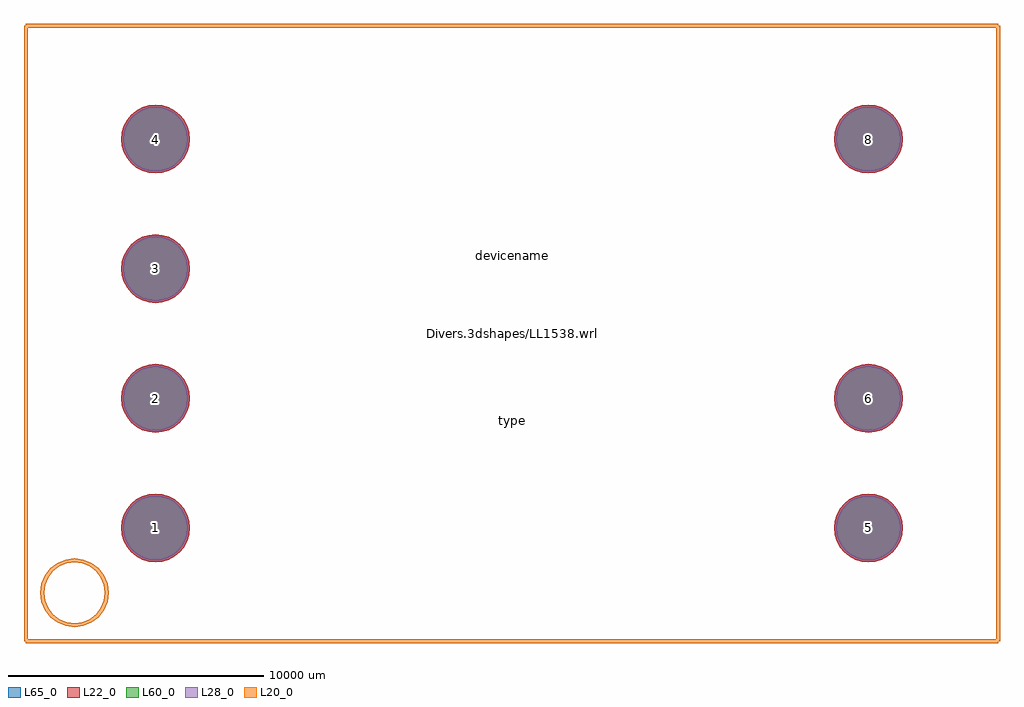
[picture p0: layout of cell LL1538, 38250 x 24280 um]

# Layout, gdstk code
import gdstk
lib = gdstk.Library(unit=1e-6, precision=1e-09)
def P(c, l, *ps):  # polygons
    for p in ps: c.add(gdstk.Polygon(p, *l))
L20_0 = (20, 0)
L22_0 = (22, 0)
L28_0 = (28, 0)
L60_0 = (60, 0)
L65_0 = (65, 0)

ll1538 = lib.new_cell('LL1538')
P(ll1538, L22_0, [(15315,7620),(15289.156,7882.396),(15212.618,8134.709),(15088.327,8367.242),(14921.059,8571.059),(14717.242,8738.327),(14484.709,8862.618),(14232.396,8939.156),(13970,8965),(13707.604,8939.156),(13455.291,8862.618),(13222.758,8738.327),(13018.941,8571.059),(12851.673,8367.242),(12727.382,8134.709),(12650.844,7882.396),(12625,7620),(12650.844,7357.604),(12727.382,7105.291),(12851.673,6872.758),(13018.941,6668.941),(13222.758,6501.673),(13455.291,6377.382),(13707.604,6300.844),(13970,6275),(14232.396,6300.844),(14484.709,6377.382),(14717.242,6501.673),(14921.059,6668.941),(15088.327,6872.758),(15212.618,7105.291),(15289.156,7357.604)],
  [(15315,-2540),(15289.156,-2277.604),(15212.618,-2025.291),(15088.327,-1792.758),(14921.059,-1588.941),(14717.242,-1421.673),(14484.709,-1297.382),(14232.396,-1220.844),(13970,-1195),(13707.604,-1220.844),(13455.291,-1297.382),(13222.758,-1421.673),(13018.941,-1588.941),(12851.673,-1792.758),(12727.382,-2025.291),(12650.844,-2277.604),(12625,-2540),(12650.844,-2802.396),(12727.382,-3054.709),(12851.673,-3287.242),(13018.941,-3491.059),(13222.758,-3658.327),(13455.291,-3782.618),(13707.604,-3859.156),(13970,-3885),(14232.396,-3859.156),(14484.709,-3782.618),(14717.242,-3658.327),(14921.059,-3491.059),(15088.327,-3287.242),(15212.618,-3054.709),(15289.156,-2802.396)],
  [(15315,-7620),(15289.156,-7357.604),(15212.618,-7105.291),(15088.327,-6872.758),(14921.059,-6668.941),(14717.242,-6501.673),(14484.709,-6377.382),(14232.396,-6300.844),(13970,-6275),(13707.604,-6300.844),(13455.291,-6377.382),(13222.758,-6501.673),(13018.941,-6668.941),(12851.673,-6872.758),(12727.382,-7105.291),(12650.844,-7357.604),(12625,-7620),(12650.844,-7882.396),(12727.382,-8134.709),(12851.673,-8367.242),(13018.941,-8571.059),(13222.758,-8738.327),(13455.291,-8862.618),(13707.604,-8939.156),(13970,-8965),(14232.396,-8939.156),(14484.709,-8862.618),(14717.242,-8738.327),(14921.059,-8571.059),(15088.327,-8367.242),(15212.618,-8134.709),(15289.156,-7882.396)],
  [(-12625,7620),(-12650.844,7882.396),(-12727.382,8134.709),(-12851.673,8367.242),(-13018.941,8571.059),(-13222.758,8738.327),(-13455.291,8862.618),(-13707.604,8939.156),(-13970,8965),(-14232.396,8939.156),(-14484.709,8862.618),(-14717.242,8738.327),(-14921.059,8571.059),(-15088.327,8367.242),(-15212.618,8134.709),(-15289.156,7882.396),(-15315,7620),(-15289.156,7357.604),(-15212.618,7105.291),(-15088.327,6872.758),(-14921.059,6668.941),(-14717.242,6501.673),(-14484.709,6377.382),(-14232.396,6300.844),(-13970,6275),(-13707.604,6300.844),(-13455.291,6377.382),(-13222.758,6501.673),(-13018.941,6668.941),(-12851.673,6872.758),(-12727.382,7105.291),(-12650.844,7357.604)],
  [(-12625,2540),(-12650.844,2802.396),(-12727.382,3054.709),(-12851.673,3287.242),(-13018.941,3491.059),(-13222.758,3658.327),(-13455.291,3782.618),(-13707.604,3859.156),(-13970,3885),(-14232.396,3859.156),(-14484.709,3782.618),(-14717.242,3658.327),(-14921.059,3491.059),(-15088.327,3287.242),(-15212.618,3054.709),(-15289.156,2802.396),(-15315,2540),(-15289.156,2277.604),(-15212.618,2025.291),(-15088.327,1792.758),(-14921.059,1588.941),(-14717.242,1421.673),(-14484.709,1297.382),(-14232.396,1220.844),(-13970,1195),(-13707.604,1220.844),(-13455.291,1297.382),(-13222.758,1421.673),(-13018.941,1588.941),(-12851.673,1792.758),(-12727.382,2025.291),(-12650.844,2277.604)],
  [(-12625,-2540),(-12650.844,-2277.604),(-12727.382,-2025.291),(-12851.673,-1792.758),(-13018.941,-1588.941),(-13222.758,-1421.673),(-13455.291,-1297.382),(-13707.604,-1220.844),(-13970,-1195),(-14232.396,-1220.844),(-14484.709,-1297.382),(-14717.242,-1421.673),(-14921.059,-1588.941),(-15088.327,-1792.758),(-15212.618,-2025.291),(-15289.156,-2277.604),(-15315,-2540),(-15289.156,-2802.396),(-15212.618,-3054.709),(-15088.327,-3287.242),(-14921.059,-3491.059),(-14717.242,-3658.327),(-14484.709,-3782.618),(-14232.396,-3859.156),(-13970,-3885),(-13707.604,-3859.156),(-13455.291,-3782.618),(-13222.758,-3658.327),(-13018.941,-3491.059),(-12851.673,-3287.242),(-12727.382,-3054.709),(-12650.844,-2802.396)],
  [(-12625,-7620),(-12650.844,-7357.604),(-12727.382,-7105.291),(-12851.673,-6872.758),(-13018.941,-6668.941),(-13222.758,-6501.673),(-13455.291,-6377.382),(-13707.604,-6300.844),(-13970,-6275),(-14232.396,-6300.844),(-14484.709,-6377.382),(-14717.242,-6501.673),(-14921.059,-6668.941),(-15088.327,-6872.758),(-15212.618,-7105.291),(-15289.156,-7357.604),(-15315,-7620),(-15289.156,-7882.396),(-15212.618,-8134.709),(-15088.327,-8367.242),(-14921.059,-8571.059),(-14717.242,-8738.327),(-14484.709,-8862.618),(-14232.396,-8939.156),(-13970,-8965),(-13707.604,-8939.156),(-13455.291,-8862.618),(-13222.758,-8738.327),(-13018.941,-8571.059),(-12851.673,-8367.242),(-12727.382,-8134.709),(-12650.844,-7882.396)])
P(ll1538, L28_0, [(15240,7620),(15215.597,7867.765),(15143.327,8106.008),(15025.966,8325.574),(14868.026,8518.026),(14675.574,8675.966),(14456.008,8793.327),(14217.765,8865.597),(13970,8890),(13722.235,8865.597),(13483.992,8793.327),(13264.426,8675.966),(13071.974,8518.026),(12914.034,8325.574),(12796.673,8106.008),(12724.403,7867.765),(12700,7620),(12724.403,7372.235),(12796.673,7133.992),(12914.034,6914.426),(13071.974,6721.974),(13264.426,6564.034),(13483.992,6446.673),(13722.235,6374.403),(13970,6350),(14217.765,6374.403),(14456.008,6446.673),(14675.574,6564.034),(14868.026,6721.974),(15025.966,6914.426),(15143.327,7133.992),(15215.597,7372.235)],
  [(15240,-2540),(15215.597,-2292.235),(15143.327,-2053.992),(15025.966,-1834.426),(14868.026,-1641.974),(14675.574,-1484.034),(14456.008,-1366.673),(14217.765,-1294.403),(13970,-1270),(13722.235,-1294.403),(13483.992,-1366.673),(13264.426,-1484.034),(13071.974,-1641.974),(12914.034,-1834.426),(12796.673,-2053.992),(12724.403,-2292.235),(12700,-2540),(12724.403,-2787.765),(12796.673,-3026.008),(12914.034,-3245.574),(13071.974,-3438.026),(13264.426,-3595.966),(13483.992,-3713.327),(13722.235,-3785.597),(13970,-3810),(14217.765,-3785.597),(14456.008,-3713.327),(14675.574,-3595.966),(14868.026,-3438.026),(15025.966,-3245.574),(15143.327,-3026.008),(15215.597,-2787.765)],
  [(15240,-7620),(15215.597,-7372.235),(15143.327,-7133.992),(15025.966,-6914.426),(14868.026,-6721.974),(14675.574,-6564.034),(14456.008,-6446.673),(14217.765,-6374.403),(13970,-6350),(13722.235,-6374.403),(13483.992,-6446.673),(13264.426,-6564.034),(13071.974,-6721.974),(12914.034,-6914.426),(12796.673,-7133.992),(12724.403,-7372.235),(12700,-7620),(12724.403,-7867.765),(12796.673,-8106.008),(12914.034,-8325.574),(13071.974,-8518.026),(13264.426,-8675.966),(13483.992,-8793.327),(13722.235,-8865.597),(13970,-8890),(14217.765,-8865.597),(14456.008,-8793.327),(14675.574,-8675.966),(14868.026,-8518.026),(15025.966,-8325.574),(15143.327,-8106.008),(15215.597,-7867.765)],
  [(-12700,7620),(-12724.403,7867.765),(-12796.673,8106.008),(-12914.034,8325.574),(-13071.974,8518.026),(-13264.426,8675.966),(-13483.992,8793.327),(-13722.235,8865.597),(-13970,8890),(-14217.765,8865.597),(-14456.008,8793.327),(-14675.574,8675.966),(-14868.026,8518.026),(-15025.966,8325.574),(-15143.327,8106.008),(-15215.597,7867.765),(-15240,7620),(-15215.597,7372.235),(-15143.327,7133.992),(-15025.966,6914.426),(-14868.026,6721.974),(-14675.574,6564.034),(-14456.008,6446.673),(-14217.765,6374.403),(-13970,6350),(-13722.235,6374.403),(-13483.992,6446.673),(-13264.426,6564.034),(-13071.974,6721.974),(-12914.034,6914.426),(-12796.673,7133.992),(-12724.403,7372.235)],
  [(-12700,2540),(-12724.403,2787.765),(-12796.673,3026.008),(-12914.034,3245.574),(-13071.974,3438.026),(-13264.426,3595.966),(-13483.992,3713.327),(-13722.235,3785.597),(-13970,3810),(-14217.765,3785.597),(-14456.008,3713.327),(-14675.574,3595.966),(-14868.026,3438.026),(-15025.966,3245.574),(-15143.327,3026.008),(-15215.597,2787.765),(-15240,2540),(-15215.597,2292.235),(-15143.327,2053.992),(-15025.966,1834.426),(-14868.026,1641.974),(-14675.574,1484.034),(-14456.008,1366.673),(-14217.765,1294.403),(-13970,1270),(-13722.235,1294.403),(-13483.992,1366.673),(-13264.426,1484.034),(-13071.974,1641.974),(-12914.034,1834.426),(-12796.673,2053.992),(-12724.403,2292.235)],
  [(-12700,-2540),(-12724.403,-2292.235),(-12796.673,-2053.992),(-12914.034,-1834.426),(-13071.974,-1641.974),(-13264.426,-1484.034),(-13483.992,-1366.673),(-13722.235,-1294.403),(-13970,-1270),(-14217.765,-1294.403),(-14456.008,-1366.673),(-14675.574,-1484.034),(-14868.026,-1641.974),(-15025.966,-1834.426),(-15143.327,-2053.992),(-15215.597,-2292.235),(-15240,-2540),(-15215.597,-2787.765),(-15143.327,-3026.008),(-15025.966,-3245.574),(-14868.026,-3438.026),(-14675.574,-3595.966),(-14456.008,-3713.327),(-14217.765,-3785.597),(-13970,-3810),(-13722.235,-3785.597),(-13483.992,-3713.327),(-13264.426,-3595.966),(-13071.974,-3438.026),(-12914.034,-3245.574),(-12796.673,-3026.008),(-12724.403,-2787.765)],
  [(-12700,-7620),(-12724.403,-7372.235),(-12796.673,-7133.992),(-12914.034,-6914.426),(-13071.974,-6721.974),(-13264.426,-6564.034),(-13483.992,-6446.673),(-13722.235,-6374.403),(-13970,-6350),(-14217.765,-6374.403),(-14456.008,-6446.673),(-14675.574,-6564.034),(-14868.026,-6721.974),(-15025.966,-6914.426),(-15143.327,-7133.992),(-15215.597,-7372.235),(-15240,-7620),(-15215.597,-7867.765),(-15143.327,-8106.008),(-15025.966,-8325.574),(-14868.026,-8518.026),(-14675.574,-8675.966),(-14456.008,-8793.327),(-14217.765,-8865.597),(-13970,-8890),(-13722.235,-8865.597),(-13483.992,-8793.327),(-13264.426,-8675.966),(-13071.974,-8518.026),(-12914.034,-8325.574),(-12796.673,-8106.008),(-12724.403,-7867.765)])
P(ll1538, L60_0, [(15240,7620),(15215.597,7867.765),(15143.327,8106.008),(15025.966,8325.574),(14868.026,8518.026),(14675.574,8675.966),(14456.008,8793.327),(14217.765,8865.597),(13970,8890),(13722.235,8865.597),(13483.992,8793.327),(13264.426,8675.966),(13071.974,8518.026),(12914.034,8325.574),(12796.673,8106.008),(12724.403,7867.765),(12700,7620),(12724.403,7372.235),(12796.673,7133.992),(12914.034,6914.426),(13071.974,6721.974),(13264.426,6564.034),(13483.992,6446.673),(13722.235,6374.403),(13970,6350),(14217.765,6374.403),(14456.008,6446.673),(14675.574,6564.034),(14868.026,6721.974),(15025.966,6914.426),(15143.327,7133.992),(15215.597,7372.235)],
  [(15240,-2540),(15215.597,-2292.235),(15143.327,-2053.992),(15025.966,-1834.426),(14868.026,-1641.974),(14675.574,-1484.034),(14456.008,-1366.673),(14217.765,-1294.403),(13970,-1270),(13722.235,-1294.403),(13483.992,-1366.673),(13264.426,-1484.034),(13071.974,-1641.974),(12914.034,-1834.426),(12796.673,-2053.992),(12724.403,-2292.235),(12700,-2540),(12724.403,-2787.765),(12796.673,-3026.008),(12914.034,-3245.574),(13071.974,-3438.026),(13264.426,-3595.966),(13483.992,-3713.327),(13722.235,-3785.597),(13970,-3810),(14217.765,-3785.597),(14456.008,-3713.327),(14675.574,-3595.966),(14868.026,-3438.026),(15025.966,-3245.574),(15143.327,-3026.008),(15215.597,-2787.765)],
  [(15240,-7620),(15215.597,-7372.235),(15143.327,-7133.992),(15025.966,-6914.426),(14868.026,-6721.974),(14675.574,-6564.034),(14456.008,-6446.673),(14217.765,-6374.403),(13970,-6350),(13722.235,-6374.403),(13483.992,-6446.673),(13264.426,-6564.034),(13071.974,-6721.974),(12914.034,-6914.426),(12796.673,-7133.992),(12724.403,-7372.235),(12700,-7620),(12724.403,-7867.765),(12796.673,-8106.008),(12914.034,-8325.574),(13071.974,-8518.026),(13264.426,-8675.966),(13483.992,-8793.327),(13722.235,-8865.597),(13970,-8890),(14217.765,-8865.597),(14456.008,-8793.327),(14675.574,-8675.966),(14868.026,-8518.026),(15025.966,-8325.574),(15143.327,-8106.008),(15215.597,-7867.765)],
  [(-12700,7620),(-12724.403,7867.765),(-12796.673,8106.008),(-12914.034,8325.574),(-13071.974,8518.026),(-13264.426,8675.966),(-13483.992,8793.327),(-13722.235,8865.597),(-13970,8890),(-14217.765,8865.597),(-14456.008,8793.327),(-14675.574,8675.966),(-14868.026,8518.026),(-15025.966,8325.574),(-15143.327,8106.008),(-15215.597,7867.765),(-15240,7620),(-15215.597,7372.235),(-15143.327,7133.992),(-15025.966,6914.426),(-14868.026,6721.974),(-14675.574,6564.034),(-14456.008,6446.673),(-14217.765,6374.403),(-13970,6350),(-13722.235,6374.403),(-13483.992,6446.673),(-13264.426,6564.034),(-13071.974,6721.974),(-12914.034,6914.426),(-12796.673,7133.992),(-12724.403,7372.235)],
  [(-12700,2540),(-12724.403,2787.765),(-12796.673,3026.008),(-12914.034,3245.574),(-13071.974,3438.026),(-13264.426,3595.966),(-13483.992,3713.327),(-13722.235,3785.597),(-13970,3810),(-14217.765,3785.597),(-14456.008,3713.327),(-14675.574,3595.966),(-14868.026,3438.026),(-15025.966,3245.574),(-15143.327,3026.008),(-15215.597,2787.765),(-15240,2540),(-15215.597,2292.235),(-15143.327,2053.992),(-15025.966,1834.426),(-14868.026,1641.974),(-14675.574,1484.034),(-14456.008,1366.673),(-14217.765,1294.403),(-13970,1270),(-13722.235,1294.403),(-13483.992,1366.673),(-13264.426,1484.034),(-13071.974,1641.974),(-12914.034,1834.426),(-12796.673,2053.992),(-12724.403,2292.235)],
  [(-12700,-2540),(-12724.403,-2292.235),(-12796.673,-2053.992),(-12914.034,-1834.426),(-13071.974,-1641.974),(-13264.426,-1484.034),(-13483.992,-1366.673),(-13722.235,-1294.403),(-13970,-1270),(-14217.765,-1294.403),(-14456.008,-1366.673),(-14675.574,-1484.034),(-14868.026,-1641.974),(-15025.966,-1834.426),(-15143.327,-2053.992),(-15215.597,-2292.235),(-15240,-2540),(-15215.597,-2787.765),(-15143.327,-3026.008),(-15025.966,-3245.574),(-14868.026,-3438.026),(-14675.574,-3595.966),(-14456.008,-3713.327),(-14217.765,-3785.597),(-13970,-3810),(-13722.235,-3785.597),(-13483.992,-3713.327),(-13264.426,-3595.966),(-13071.974,-3438.026),(-12914.034,-3245.574),(-12796.673,-3026.008),(-12724.403,-2787.765)],
  [(-12700,-7620),(-12724.403,-7372.235),(-12796.673,-7133.992),(-12914.034,-6914.426),(-13071.974,-6721.974),(-13264.426,-6564.034),(-13483.992,-6446.673),(-13722.235,-6374.403),(-13970,-6350),(-14217.765,-6374.403),(-14456.008,-6446.673),(-14675.574,-6564.034),(-14868.026,-6721.974),(-15025.966,-6914.426),(-15143.327,-7133.992),(-15215.597,-7372.235),(-15240,-7620),(-15215.597,-7867.765),(-15143.327,-8106.008),(-15025.966,-8325.574),(-14868.026,-8518.026),(-14675.574,-8675.966),(-14456.008,-8793.327),(-14217.765,-8865.597),(-13970,-8890),(-13722.235,-8865.597),(-13483.992,-8793.327),(-13264.426,-8675.966),(-13071.974,-8518.026),(-12914.034,-8325.574),(-12796.673,-8106.008),(-12724.403,-7867.765)])
P(ll1538, L65_0, [(15315,7620),(15289.156,7882.396),(15212.618,8134.709),(15088.327,8367.242),(14921.059,8571.059),(14717.242,8738.327),(14484.709,8862.618),(14232.396,8939.156),(13970,8965),(13707.604,8939.156),(13455.291,8862.618),(13222.758,8738.327),(13018.941,8571.059),(12851.673,8367.242),(12727.382,8134.709),(12650.844,7882.396),(12625,7620),(12650.844,7357.604),(12727.382,7105.291),(12851.673,6872.758),(13018.941,6668.941),(13222.758,6501.673),(13455.291,6377.382),(13707.604,6300.844),(13970,6275),(14232.396,6300.844),(14484.709,6377.382),(14717.242,6501.673),(14921.059,6668.941),(15088.327,6872.758),(15212.618,7105.291),(15289.156,7357.604)],
  [(15315,-2540),(15289.156,-2277.604),(15212.618,-2025.291),(15088.327,-1792.758),(14921.059,-1588.941),(14717.242,-1421.673),(14484.709,-1297.382),(14232.396,-1220.844),(13970,-1195),(13707.604,-1220.844),(13455.291,-1297.382),(13222.758,-1421.673),(13018.941,-1588.941),(12851.673,-1792.758),(12727.382,-2025.291),(12650.844,-2277.604),(12625,-2540),(12650.844,-2802.396),(12727.382,-3054.709),(12851.673,-3287.242),(13018.941,-3491.059),(13222.758,-3658.327),(13455.291,-3782.618),(13707.604,-3859.156),(13970,-3885),(14232.396,-3859.156),(14484.709,-3782.618),(14717.242,-3658.327),(14921.059,-3491.059),(15088.327,-3287.242),(15212.618,-3054.709),(15289.156,-2802.396)],
  [(15315,-7620),(15289.156,-7357.604),(15212.618,-7105.291),(15088.327,-6872.758),(14921.059,-6668.941),(14717.242,-6501.673),(14484.709,-6377.382),(14232.396,-6300.844),(13970,-6275),(13707.604,-6300.844),(13455.291,-6377.382),(13222.758,-6501.673),(13018.941,-6668.941),(12851.673,-6872.758),(12727.382,-7105.291),(12650.844,-7357.604),(12625,-7620),(12650.844,-7882.396),(12727.382,-8134.709),(12851.673,-8367.242),(13018.941,-8571.059),(13222.758,-8738.327),(13455.291,-8862.618),(13707.604,-8939.156),(13970,-8965),(14232.396,-8939.156),(14484.709,-8862.618),(14717.242,-8738.327),(14921.059,-8571.059),(15088.327,-8367.242),(15212.618,-8134.709),(15289.156,-7882.396)],
  [(-12625,7620),(-12650.844,7882.396),(-12727.382,8134.709),(-12851.673,8367.242),(-13018.941,8571.059),(-13222.758,8738.327),(-13455.291,8862.618),(-13707.604,8939.156),(-13970,8965),(-14232.396,8939.156),(-14484.709,8862.618),(-14717.242,8738.327),(-14921.059,8571.059),(-15088.327,8367.242),(-15212.618,8134.709),(-15289.156,7882.396),(-15315,7620),(-15289.156,7357.604),(-15212.618,7105.291),(-15088.327,6872.758),(-14921.059,6668.941),(-14717.242,6501.673),(-14484.709,6377.382),(-14232.396,6300.844),(-13970,6275),(-13707.604,6300.844),(-13455.291,6377.382),(-13222.758,6501.673),(-13018.941,6668.941),(-12851.673,6872.758),(-12727.382,7105.291),(-12650.844,7357.604)],
  [(-12625,2540),(-12650.844,2802.396),(-12727.382,3054.709),(-12851.673,3287.242),(-13018.941,3491.059),(-13222.758,3658.327),(-13455.291,3782.618),(-13707.604,3859.156),(-13970,3885),(-14232.396,3859.156),(-14484.709,3782.618),(-14717.242,3658.327),(-14921.059,3491.059),(-15088.327,3287.242),(-15212.618,3054.709),(-15289.156,2802.396),(-15315,2540),(-15289.156,2277.604),(-15212.618,2025.291),(-15088.327,1792.758),(-14921.059,1588.941),(-14717.242,1421.673),(-14484.709,1297.382),(-14232.396,1220.844),(-13970,1195),(-13707.604,1220.844),(-13455.291,1297.382),(-13222.758,1421.673),(-13018.941,1588.941),(-12851.673,1792.758),(-12727.382,2025.291),(-12650.844,2277.604)],
  [(-12625,-2540),(-12650.844,-2277.604),(-12727.382,-2025.291),(-12851.673,-1792.758),(-13018.941,-1588.941),(-13222.758,-1421.673),(-13455.291,-1297.382),(-13707.604,-1220.844),(-13970,-1195),(-14232.396,-1220.844),(-14484.709,-1297.382),(-14717.242,-1421.673),(-14921.059,-1588.941),(-15088.327,-1792.758),(-15212.618,-2025.291),(-15289.156,-2277.604),(-15315,-2540),(-15289.156,-2802.396),(-15212.618,-3054.709),(-15088.327,-3287.242),(-14921.059,-3491.059),(-14717.242,-3658.327),(-14484.709,-3782.618),(-14232.396,-3859.156),(-13970,-3885),(-13707.604,-3859.156),(-13455.291,-3782.618),(-13222.758,-3658.327),(-13018.941,-3491.059),(-12851.673,-3287.242),(-12727.382,-3054.709),(-12650.844,-2802.396)],
  [(-12625,-7620),(-12650.844,-7357.604),(-12727.382,-7105.291),(-12851.673,-6872.758),(-13018.941,-6668.941),(-13222.758,-6501.673),(-13455.291,-6377.382),(-13707.604,-6300.844),(-13970,-6275),(-14232.396,-6300.844),(-14484.709,-6377.382),(-14717.242,-6501.673),(-14921.059,-6668.941),(-15088.327,-6872.758),(-15212.618,-7105.291),(-15289.156,-7357.604),(-15315,-7620),(-15289.156,-7882.396),(-15212.618,-8134.709),(-15088.327,-8367.242),(-14921.059,-8571.059),(-14717.242,-8738.327),(-14484.709,-8862.618),(-14232.396,-8939.156),(-13970,-8965),(-13707.604,-8939.156),(-13455.291,-8862.618),(-13222.758,-8738.327),(-13018.941,-8571.059),(-12851.673,-8367.242),(-12727.382,-8134.709),(-12650.844,-7882.396)])
ll1538.add(gdstk.FlexPath([(-19050,-12065),(-19050,12065)], 149.998, ends="flush", simple_path=True, layer=20, datatype=0))  # L20_0
ll1538.add(gdstk.FlexPath([(19050,-12065),(-19050,-12065)], 149.998, ends="flush", simple_path=True, layer=20, datatype=0))  # L20_0
ll1538.add(gdstk.FlexPath([(19050,12065),(19050,-12065)], 149.998, ends="flush", simple_path=True, layer=20, datatype=0))  # L20_0
ll1538.add(gdstk.FlexPath([(-19050,12065),(19050,12065)], 149.998, ends="flush", simple_path=True, layer=20, datatype=0))  # L20_0
ll1538.add(gdstk.FlexPath([(-17145,-8890),(-17473.7,-8933.274),(-17780,-9060.148),(-18043.026,-9261.974),(-18244.852,-9525),(-18371.726,-9831.3),(-18415,-10160),(-18371.726,-10488.7),(-18244.852,-10795),(-18043.026,-11058.026),(-17780,-11259.852),(-17473.7,-11386.726),(-17145,-11430),(-16816.3,-11386.726),(-16510,-11259.852),(-16246.974,-11058.026),(-16045.148,-10795),(-15918.274,-10488.7),(-15875,-10160),(-15918.274,-9831.3),(-16045.148,-9525),(-16246.974,-9261.974),(-16510,-9060.148),(-16816.3,-8933.274),(-17145,-8890)], 149.998, ends="flush", simple_path=True, layer=20, datatype=0))  # L20_0
ll1538.add(gdstk.Label('Divers.3dshapes/LL1538.wrl', (0,0), layer=12, texttype=0))
ll1538.add(gdstk.Label('8', (13970,7620), layer=28, texttype=0))
ll1538.add(gdstk.Label('6', (13970,-2540), layer=28, texttype=0))
ll1538.add(gdstk.Label('5', (13970,-7620), layer=28, texttype=0))
ll1538.add(gdstk.Label('4', (-13970,7620), layer=28, texttype=0))
ll1538.add(gdstk.Label('3', (-13970,2540), layer=28, texttype=0))
ll1538.add(gdstk.Label('2', (-13970,-2540), layer=28, texttype=0))
ll1538.add(gdstk.Label('1', (-13970,-7620), layer=28, texttype=0))
ll1538.add(gdstk.Label('type', (0,-3429), layer=9, texttype=0))
ll1538.add(gdstk.Label('devicename', (0,3048), layer=9, texttype=0))

lib.write_gds('LL1538.gds')
